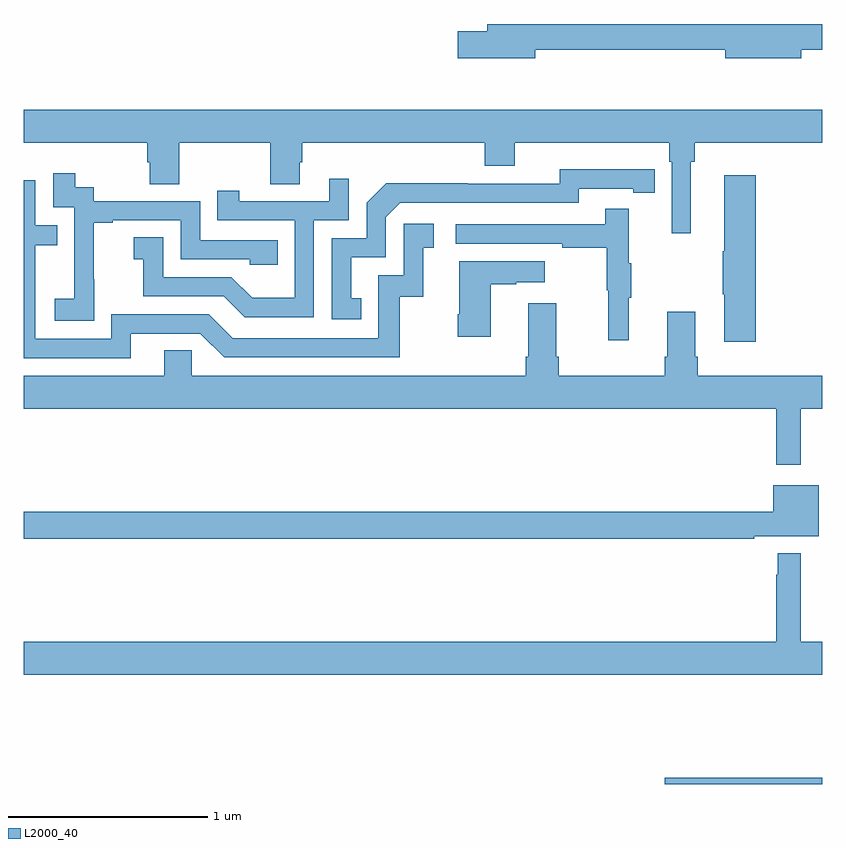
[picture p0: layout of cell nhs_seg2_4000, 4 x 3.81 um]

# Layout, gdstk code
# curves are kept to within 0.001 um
import gdstk
lib = gdstk.Library(unit=1e-6, precision=1e-09)
def R(c, l, rs):  # rectangles x0, y0, x1, y1
    for r in rs: c.add(gdstk.rectangle(r[:2], r[2:], *l))
def P(c, l, *ps):  # polygons
    for p in ps: c.add(gdstk.Polygon(p, *l))
L2000_40 = (2000, 40)

nhs_seg2_4000 = lib.new_cell('nhs_seg2_4000')
R(nhs_seg2_4000, L2000_40, [(328.211,601.8,329,601.832)])
P(nhs_seg2_4000, L2000_40, [(327.562,605.478),(328.514,605.478),(328.514,605.435),(328.894,605.435),(328.894,605.478),(329,605.478),(329,605.606),(327.323,605.606),(327.323,605.57),(327.174,605.57),(327.174,605.435),(327.562,605.435)],
  [(328.342,604.916),(328.361,604.916),(328.361,605.012),(329,605.012),(329,605.176),(325,605.176),(325,605.012),(325.619,605.012),(325.619,604.914),(325.631,604.914),(325.631,604.804),(325.779,604.804),(325.779,605.012),(326.236,605.012),(326.236,604.804),(326.383,604.804),(326.383,604.914),(326.396,604.914),(326.396,605.012),(327.308,605.012),(327.308,604.895),(327.46,604.895),(327.46,605.012),(328.232,605.012),(328.232,604.916),(328.245,604.916),(328.245,604.557),(328.342,604.557)],
  [(326.69,604.233),(326.641,604.233),(326.641,604.437),(326.814,604.437),(326.814,604.638),(326.886,604.71),(327.78,604.71),(327.78,604.782),(328.052,604.782),(328.052,604.762),(328.16,604.762),(328.16,604.878),(327.684,604.879),(327.684,604.806),(327.224,604.806),(327.224,604.808),(326.816,604.808),(326.718,604.71),(326.718,604.533),(326.544,604.533),(326.544,604.128),(326.69,604.128)],
  [(325.353,604.327),(325.352,604.327),(325.352,604.611),(325.447,604.611),(325.447,604.623),(325.788,604.623),(325.788,604.428),(326.133,604.428),(326.133,604.401),(326.273,604.401),(326.273,604.524),(325.884,604.524),(325.884,604.719),(325.35,604.719),(325.35,604.788),(325.258,604.788),(325.258,604.858),(325.149,604.858),(325.149,604.689),(325.254,604.689),(325.254,604.46),(325.253,604.46),(325.253,604.231),(325.155,604.231),(325.155,604.121),(325.353,604.121)],
  [(328.667,604.849),(328.508,604.849),(328.508,604.469),(328.501,604.469),(328.501,604.252),(328.508,604.252),(328.508,604.014),(328.667,604.014)],
  [(326.454,604.623),(326.628,604.623),(326.628,604.831),(326.531,604.831),(326.531,604.719),(326.08,604.719),(326.08,604.771),(325.969,604.771),(325.969,604.623),(326.358,604.623),(326.358,604.234),(326.144,604.234),(326.04,604.338),(325.698,604.338),(325.698,604.537),(325.551,604.537),(325.551,604.427),(325.6,604.427),(325.6,604.242),(326.003,604.242),(326.108,604.137),(326.454,604.137)],
  [(325.537,604.056),(325.884,604.056),(326.004,603.936),(326.884,603.936),(326.884,604.239),(327.002,604.239),(327.002,604.485),(327.055,604.485),(327.055,604.606),(326.904,604.606),(326.904,604.347),(326.775,604.347),(326.775,604.032),(326.046,604.032),(325.926,604.152),(325.44,604.152),(325.44,604.029),(325.059,604.029),(325.059,604.498),(325.169,604.498),(325.169,604.599),(325.059,604.599),(325.059,604.824),(325,604.824),(325,603.933),(325.537,603.933)],
  [(328.031,604.235),(328.042,604.235),(328.042,604.409),(328.031,604.409),(328.031,604.681),(327.913,604.681),(327.913,604.602),(327.165,604.602),(327.165,604.506),(327.697,604.506),(327.697,604.486),(327.921,604.486),(327.921,604.272),(327.928,604.272),(327.928,604.023),(328.031,604.023)],
  [(327.34,604.303),(327.467,604.303),(327.467,604.313),(327.61,604.313),(327.61,604.417),(327.182,604.417),(327.182,604.153),(327.175,604.153),(327.175,604.041),(327.34,604.041)],
  [(328.891,603.68),(329,603.68),(329,603.844),(328.376,603.844),(328.376,603.94),(328.363,603.94),(328.363,604.165),(328.223,604.165),(328.223,603.94),(328.211,603.94),(328.211,603.844),(327.68,603.844),(327.68,603.94),(327.667,603.94),(327.667,604.207),(327.527,604.207),(327.527,603.94),(327.515,603.94),(327.515,603.844),(325.842,603.844),(325.842,603.971),(325.703,603.971),(325.703,603.844),(325,603.844),(325,603.68),(328.77,603.68),(328.77,603.399),(328.891,603.399)],
  [(328.658,603.041),(328.981,603.041),(328.981,603.295),(328.754,603.295),(328.754,603.164),(325,603.164),(325,603.028),(328.658,603.028)],
  [(329,602.512),(328.891,602.512),(328.891,602.956),(328.776,602.956),(328.776,602.849),(328.77,602.849),(328.77,602.512),(325,602.512),(325,602.348),(329,602.348)])

lib.write_gds('nhs_seg2_4000.gds')
